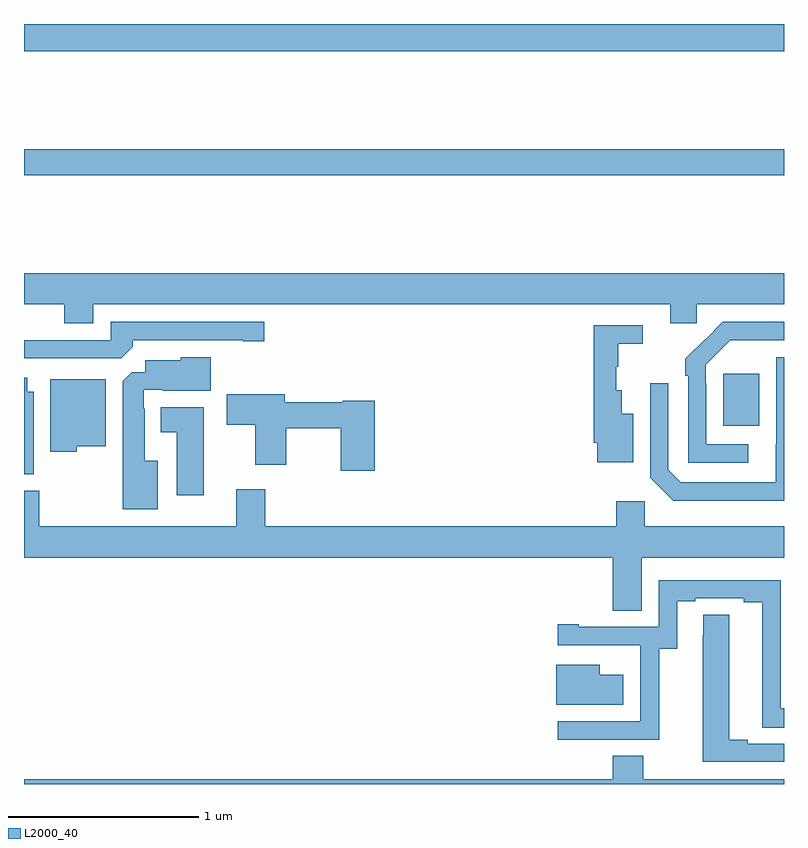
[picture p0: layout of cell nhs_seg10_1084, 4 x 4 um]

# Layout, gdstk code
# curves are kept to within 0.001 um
import gdstk
lib = gdstk.Library(unit=1e-6, precision=1e-09)
def R(c, l, rs):  # rectangles x0, y0, x1, y1
    for r in rs: c.add(gdstk.rectangle(r[:2], r[2:], *l))
def P(c, l, *ps):  # polygons
    for p in ps: c.add(gdstk.Polygon(p, *l))
L2000_40 = (2000, 40)

nhs_seg10_1084 = lib.new_cell('nhs_seg10_1084')
R(nhs_seg10_1084, L2000_40, [(170.681,1258.385,170.869,1258.66), (167,1259.704,171,1259.84), (167,1260.356,171,1260.5)])
P(nhs_seg10_1084, L2000_40, [(167.365,1259.024),(170.402,1259.024),(170.402,1258.926),(170.541,1258.926),(170.541,1259.024),(171,1259.024),(171,1259.188),(167,1259.188),(167,1259.024),(167.213,1259.024),(167.213,1258.925),(167.365,1258.925)],
  [(170.812,1258.287),(170.592,1258.287),(170.592,1258.607),(170.589,1258.607),(170.589,1258.707),(170.718,1258.836),(171,1258.836),(171,1258.932),(170.678,1258.932),(170.481,1258.737),(170.481,1258.649),(170.496,1258.649),(170.496,1258.191),(170.812,1258.191)],
  [(167.573,1258.802),(167.573,1258.836),(168.152,1258.836),(168.152,1258.831),(168.265,1258.831),(168.265,1258.932),(167.457,1258.932),(167.457,1258.836),(167,1258.836),(167,1258.74),(167.511,1258.74)],
  [(170.206,1258.45),(170.146,1258.45),(170.146,1258.573),(170.117,1258.573),(170.117,1258.695),(170.128,1258.695),(170.128,1258.816),(170.257,1258.816),(170.257,1258.914),(169.999,1258.914),(169.999,1258.297),(170.018,1258.297),(170.018,1258.193),(170.206,1258.193)],
  [(167.704,1258.201),(167.635,1258.201),(167.635,1258.475),(167.631,1258.475),(167.631,1258.575),(167.731,1258.575),(167.731,1258.571),(167.983,1258.571),(167.983,1258.747),(167.826,1258.747),(167.826,1258.729),(167.639,1258.729),(167.639,1258.668),(167.568,1258.668),(167.519,1258.619),(167.519,1257.947),(167.704,1257.947)],
  [(171,1258.746),(170.958,1258.746),(170.958,1258.289),(170.957,1258.289),(170.957,1258.089),(170.457,1258.089),(170.391,1258.155),(170.391,1258.609),(170.295,1258.609),(170.295,1258.113),(170.416,1257.992),(171,1257.992)],
  [(167.05,1258.564),(167.017,1258.564),(167.017,1258.639),(167,1258.639),(167,1258.129),(167.05,1258.129)],
  [(167.277,1258.277),(167.431,1258.277),(167.431,1258.63),(167.138,1258.63),(167.138,1258.25),(167.277,1258.25)],
  [(168.845,1258.516),(168.678,1258.516),(168.678,1258.508),(168.373,1258.508),(168.373,1258.552),(168.066,1258.552),(168.066,1258.39),(168.218,1258.39),(168.218,1258.179),(168.381,1258.179),(168.381,1258.372),(168.667,1258.372),(168.667,1258.149),(168.845,1258.149)],
  [(167.947,1258.483),(167.72,1258.483),(167.72,1258.352),(167.804,1258.352),(167.804,1258.02),(167.947,1258.02)],
  [(170.251,1257.692),(171,1257.692),(171,1257.856),(170.268,1257.856),(170.268,1257.988),(170.117,1257.988),(170.117,1257.856),(168.269,1257.856),(168.269,1258.051),(168.116,1258.051),(168.116,1257.856),(167.079,1257.856),(167.079,1258.044),(167,1258.044),(167,1257.692),(170.099,1257.692),(170.099,1257.412),(170.251,1257.412)],
  [(170.343,1257.211),(170.437,1257.211),(170.437,1257.462),(170.533,1257.462),(170.533,1257.477),(170.789,1257.477),(170.789,1257.457),(170.885,1257.457),(170.885,1256.797),(171,1256.797),(171,1256.898),(170.982,1256.898),(170.982,1257.573),(170.34,1257.573),(170.34,1257.327),(169.921,1257.327),(169.921,1257.34),(169.809,1257.34),(169.809,1257.231),(170.243,1257.231),(170.243,1257.23),(170.244,1257.23),(170.244,1256.829),(169.809,1256.829),(169.809,1256.733),(170.343,1256.733)],
  [(171,1256.712),(170.809,1256.712),(170.809,1256.732),(170.713,1256.732),(170.713,1257.392),(170.574,1257.392),(170.574,1257.284),(170.573,1257.284),(170.573,1256.616),(171,1256.616)],
  [(170.155,1257.076),(170.029,1257.076),(170.029,1257.127),(169.802,1257.127),(169.802,1256.918),(170.155,1256.918)],
  [(171,1256.524),(170.259,1256.524),(170.259,1256.648),(170.099,1256.648),(170.099,1256.524),(167,1256.524),(167,1256.5),(171,1256.5)])

lib.write_gds('nhs_seg10_1084.gds')
